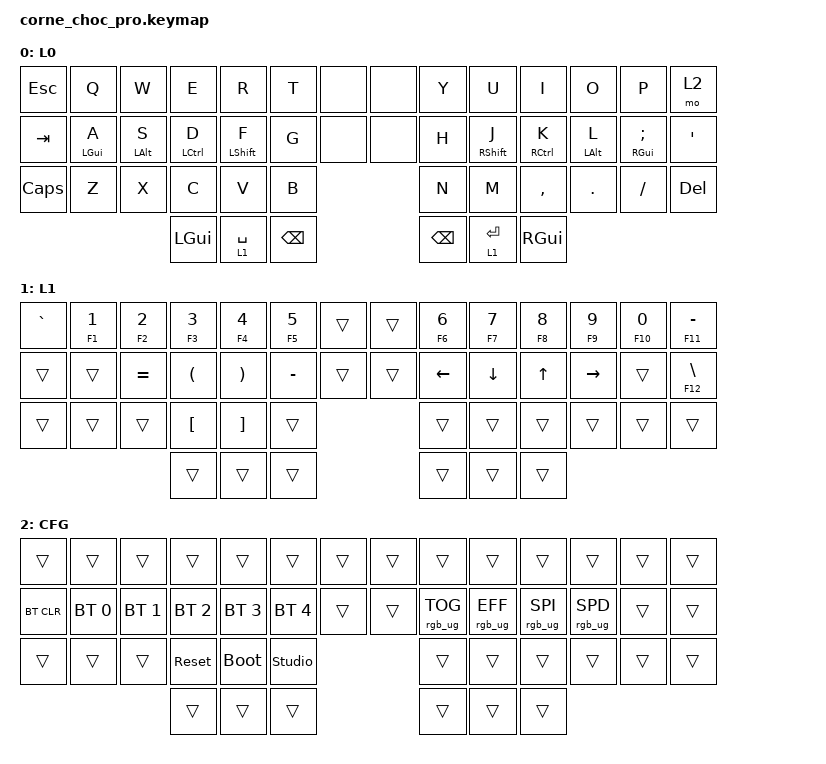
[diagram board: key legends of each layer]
/*
 * Copyright (c) 2020 The ZMK Contributors
 *
 * SPDX-License-Identifier: MIT
 */

#include <behaviors.dtsi>
#include <dt-bindings/zmk/keys.h>
#include <dt-bindings/zmk/bt.h>
#include <dt-bindings/zmk/rgb.h>

/ {
    chosen {
        zmk,physical-layout = &default_layout;
    };
};

/ {
    keymap {
        compatible = "zmk,keymap";

        default_layer {
            display-name = "L0";
            // ------------------------------------------------------------------------------------------------------------------------------------
            // | ESC  | Q       | W       | E        | R          | T         | XXXX | XXXX | Y         | U         | I       | O       | P | L3  |
            // | TAB  | A (GUI) | S (ALT) | D (CTRL) | F (SHIFT)  | G         | XXXX | XXXX | H (SHIFT) | J (CTRL)  | K (ALT) | L (GUI) | ; |  '  |
            // | CAPS | Z       | X       | C        | V          | B         |             | N         | M         | ,       | .       | / | DEL |
            //                            | GUI      | SPACE (L1) | BSPC      |             | BSPC      | RET (L1)  | GUI     |
            bindings = <
                &kp ESC  &kp Q       &kp W       &kp E        &kp R         &kp T    &none &none &kp Y    &kp U         &kp I        &kp O       &kp P          &mo 2
                &kp TAB  &hml LGUI A &hml LALT S &hml LCTRL D &hml LSHIFT F &kp G    &none &none &kp H    &hmr RSHIFT J &hmr RCTRL K &hmr LALT L &hmr RGUI SEMI &kp SQT
                &kp CAPS &kp Z       &kp X       &kp C        &kp V         &kp B                &kp N    &kp M         &kp COMMA    &kp DOT     &kp FSLH       &kp DEL
                                                 &kp LGUI     &lt 1 SPACE   &kp BSPC             &kp BSPC &lt 1 RET     &kp RGUI
            >;
        };

       first_layer {
            display-name = "L1";
            // --------------------------------------------------------------------------------------------------------------
            // | ` | 1(F1) | 2(F2) | 3(F3) | 4(F4) | 5(F5) | XXXX | XXXX | 6(F6) | 7(F7) | 8(F8) | 9(F9) | 0(F10) | - (F11) |
            // |   |       | =     | LPAR  | RPAR  | -     | XXXX | XXXX | LFT   | DWN   |  UP   | RGT   |        | \(F12)  |
            // |   |       |       | LBRA  | RBRA  |       |             |       |       |       |       |        |         |
            //                     |       |       |       |             |       |       |       |
            bindings = <
                &kp GRAVE &mt F1 N1 &mt F2 N2 &mt F3 N3 &mt F4 N4 &mt F5 N5 &trans &trans &mt F6 N6 &mt F7 N7 &mt F8 N8 &mt F9 N9 &mt F10 N0 &mt F11 MINUS
                &trans    &trans    &kp EQUAL &kp LPAR  &kp RPAR  &kp MINUS &trans &trans &kp LEFT  &kp DOWN  &kp UP    &kp RIGHT &trans     &mt F12 BACKSLASH
                &trans    &trans    &trans    &kp LBKT  &kp RBKT  &trans                  &trans    &trans    &trans    &trans    &trans     &trans
                                              &trans    &trans    &trans                  &trans    &trans    &trans
            >;
        };

        conf_layer {
            display-name = "CFG";
            // ----------------------------------------------------------------------------------------------------------------
            // |        |      |       |            |            |   |   |          |           |          |          |   |   |
            // | BT_CLR | BT_1 | BT_2  | BT_3       | BT_4       |   |   | RGT_TOG  |  RGB_EFF  |  RGB_PR  |  RGB_NX  |   |   |
            // |        |      | RESET | BOOTLOADER | STD_UNLOCK |       |          |           |          |          |   |   |
            bindings = <
                &trans      &trans       &trans       &trans       &trans       &trans         &trans &trans &trans          &trans          &trans          &trans          &trans &trans
                &bt BT_CLR  &bt BT_SEL 0 &bt BT_SEL 1 &bt BT_SEL 2 &bt BT_SEL 3 &bt BT_SEL 4   &trans &trans &rgb_ug RGB_TOG &rgb_ug RGB_EFF &rgb_ug RGB_SPI &rgb_ug RGB_SPD &trans &trans
                &trans      &trans       &trans       &sys_reset   &bootloader  &studio_unlock               &trans          &trans          &trans          &trans          &trans &trans
                                                      &trans       &trans       &trans                       &trans          &trans          &trans
            >;
        };
    };
};

/ {
    behaviors {
        hml: home_row_mod_left {
            compatible = "zmk,behavior-hold-tap";
            #binding-cells = <2>;
            flavor = "balanced";
            require-prior-idle-ms = <100>;
            tapping-term-ms = <150>;
            quick-tap-ms = <100>;
            bindings = <&kp>,  <&kp>;
            hold-trigger-key-positions = <6 7 8 9 10 11 18 19 20 21 22 23 30 31 32 33 34 35>; // List of keys on the right side of the keyboard
            hold-trigger-on-release;
        };
        hmr: home_row_mod_right {
            compatible = "zmk,behavior-hold-tap";
            #binding-cells = <2>;
            flavor = "balanced";
            require-prior-idle-ms = <100>;
            tapping-term-ms = <150>;
            quick-tap-ms = <100>;
            bindings = <&kp>,  <&kp>;
            hold-trigger-key-positions = <0 1 2 3 4 5 12 13 14 15 16 17 24 25 26 27 28 29>; // List of keys on the left side of the keyboard
            hold-trigger-on-release;
        };
    };
};
